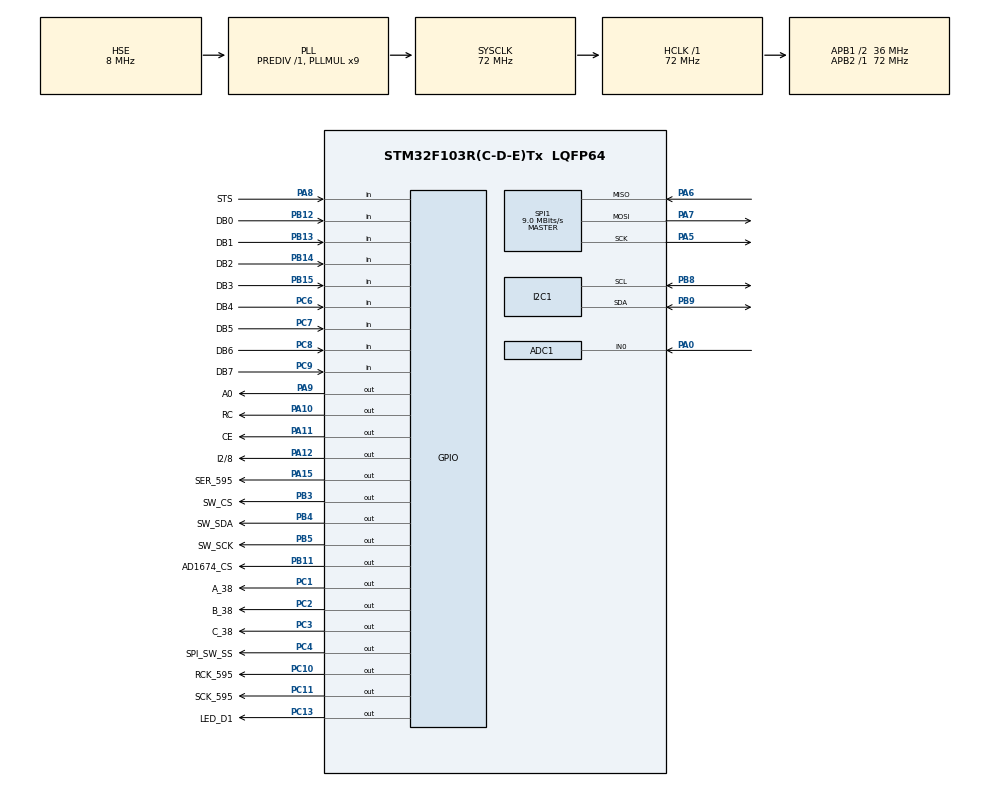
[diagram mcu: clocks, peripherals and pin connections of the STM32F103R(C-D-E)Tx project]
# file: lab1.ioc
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ADC1.Channel-1\#ChannelRegularConversion=ADC_CHANNEL_0
ADC1.ContinuousConvMode=ENABLE
ADC1.EnableInjectedConversion=DISABLE
ADC1.InjNumberOfConversion=1
ADC1.NbrOfConversionFlag=1
ADC1.Rank-1\#ChannelRegularConversion=1
ADC1.SamplingTime-1\#ChannelRegularConversion=ADC_SAMPLETIME_1CYCLE_5
ADC1.master=1
Mcu.Family=STM32F1
Mcu.Name=STM32F103R(C-D-E)Tx
Mcu.Package=LQFP64
NVIC.PriorityGroup=NVIC_PRIORITYGROUP_4
NVIC.TIM2_IRQn=true\:1\:0\:true\:false\:true\:true\:true\:true
NVIC.TIM3_IRQn=true\:0\:0\:false\:false\:true\:true\:true\:true
NVIC.TIM5_IRQn=true\:0\:0\:false\:false\:true\:true\:true\:true
PA0-WKUP.Signal=ADCx_IN0
PA10.GPIO_Label=RC
PA10.Signal=GPIO_Output
PA11.GPIO_Label=CE
PA11.Signal=GPIO_Output
PA12.GPIO_Label=I2/8
PA12.Signal=GPIO_Output
PA13.Mode=Serial_Wire
PA13.Signal=SYS_JTMS-SWDIO
PA14.Mode=Serial_Wire
PA14.Signal=SYS_JTCK-SWCLK
PA15.GPIO_Label=SER_595
PA15.Signal=GPIO_Output
PA5.Mode=Full_Duplex_Master
PA5.Signal=SPI1_SCK
PA6.Mode=Full_Duplex_Master
PA6.Signal=SPI1_MISO
PA7.Mode=Full_Duplex_Master
PA7.Signal=SPI1_MOSI
PA8.GPIO_Label=STS
PA8.Signal=GPIO_Input
PA9.GPIO_Label=A0
PA9.Signal=GPIO_Output
PB11.GPIO_Label=AD1674_CS
PB11.Signal=GPIO_Output
PB12.GPIO_Label=DB0
PB12.Signal=GPIO_Input
PB13.GPIO_Label=DB1
PB13.Signal=GPIO_Input
PB14.GPIO_Label=DB2
PB14.Signal=GPIO_Input
PB15.GPIO_Label=DB3
PB15.Signal=GPIO_Input
PB3.GPIO_Label=SW_CS
PB3.Signal=GPIO_Output
PB4.GPIO_Label=SW_SDA
PB4.Signal=GPIO_Output
PB5.GPIO_Label=SW_SCK
PB5.Signal=GPIO_Output
PB8.Mode=I2C
PB8.Signal=I2C1_SCL
PB9.Mode=I2C
PB9.Signal=I2C1_SDA
PC1.GPIO_Label=A_38
PC1.Signal=GPIO_Output
PC10.GPIO_Label=RCK_595
PC10.Signal=GPIO_Output
PC11.GPIO_Label=SCK_595
PC11.Signal=GPIO_Output
PC13-TAMPER-RTC.GPIO_Label=LED_D1
PC13-TAMPER-RTC.Signal=GPIO_Output
PC2.GPIO_Label=B_38
PC2.Signal=GPIO_Output
PC3.GPIO_Label=C_38
PC3.Signal=GPIO_Output
PC4.GPIO_Label=SPI_SW_SS
PC4.Signal=GPIO_Output
PC6.GPIO_Label=DB4
PC6.Signal=GPIO_Input
PC7.GPIO_Label=DB5
PC7.Signal=GPIO_Input
PC8.GPIO_Label=DB6
PC8.Signal=GPIO_Input
PC9.GPIO_Label=DB7
PC9.Signal=GPIO_Input
PD0-OSC_IN.Mode=HSE-External-Oscillator
PD0-OSC_IN.Signal=RCC_OSC_IN
PD1-OSC_OUT.Mode=HSE-External-Oscillator
PD1-OSC_OUT.Signal=RCC_OSC_OUT
ProjectManager.HeapSize=0x200
ProjectManager.StackSize=0x400
ProjectManager.TargetToolchain=MDK-ARM V5.32
RCC.ADCPresc=RCC_ADCPCLK2_DIV6
RCC.AHBFreq_Value=72000000
RCC.APB1CLKDivider=RCC_HCLK_DIV2
RCC.APB1Freq_Value=36000000
RCC.APB1TimFreq_Value=72000000
RCC.APB2Freq_Value=72000000
RCC.APB2TimFreq_Value=72000000
RCC.HCLKFreq_Value=72000000
RCC.PLLMUL=RCC_PLL_MUL9
RCC.PLLSourceVirtual=RCC_PLLSOURCE_HSE
RCC.SYSCLKFreq_VALUE=72000000
RCC.SYSCLKSource=RCC_SYSCLKSOURCE_PLLCLK
RCC.USBFreq_Value=72000000
SH.ADCx_IN0.0=ADC1_IN0,IN0
SPI1.BaudRatePrescaler=SPI_BAUDRATEPRESCALER_8
SPI1.CalculateBaudRate=9.0 MBits/s
SPI1.Direction=SPI_DIRECTION_2LINES
SPI1.Mode=SPI_MODE_MASTER
SPI1.VirtualType=VM_MASTER
TIM2.Period=7200
TIM2.Prescaler=10000
TIM3.Period=720
TIM3.Prescaler=10000
TIM5.Period=720
TIM5.Prescaler=10000
VP_TIM2_VS_ClockSourceINT.Mode=Internal
VP_TIM3_VS_ClockSourceINT.Mode=Internal
VP_TIM5_VS_ClockSourceINT.Mode=Internal
board=custom

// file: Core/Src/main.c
/* USER CODE BEGIN Header */
/**
  ******************************************************************************
  * @file           : main.c
  * @brief          : Main program body
  ******************************************************************************
  * @attention
  *
  * Copyright (c) 2025 STMicroelectronics.
  * All rights reserved.
  *
  * This software is licensed under terms that can be found in the LICENSE file
  * in the root directory of this software component.
  * If no LICENSE file comes with this software, it is provided AS-IS.
  *
  ******************************************************************************
  */
/* USER CODE END Header */
#include "main.h"
#include "adc.h"
#include "i2c.h"
#include "spi.h"
#include "tim.h"
#include "gpio.h"

/* USER CODE BEGIN Includes */
#include "LED.h"
#include "sw_lcd.h"
#include "spi_lcd.h"
#include "i2c_oled.h"
#include "595driver.h"
#include "AD1674.h"

/* USER CODE END Includes */

/* USER CODE BEGIN PD */
#define HW_SPI
/* USER CODE END PD */

/* USER CODE BEGIN PV */
//extern int LED_status;
uint16_t ADC_value = 0;
float ADC_Value_float = 0;
uint16_t AD1674_uint16 = 0;
float AD1674_value = 0;
/* USER CODE END PV */

void SystemClock_Config(void);

int main(void)
{

  /* USER CODE BEGIN 1 */
  LED_status = 1;
  /* USER CODE END 1 */

  /* MCU Configuration--------------------------------------------------------*/

  /* Reset of all peripherals, Initializes the Flash interface and the Systick. */
  HAL_Init();

  /* Configure the system clock */
  SystemClock_Config();

  /* USER CODE BEGIN SysInit */

  //  MX_GPIO_Init(); //这里已经对38多路选择器进行了初始化
  //  38多路选择选择的是通道0

  /* USER CODE END SysInit */

  /* Initialize all configured peripherals */
  MX_GPIO_Init(); //这里已经对38多路选择器进行了初始化
  MX_SPI1_Init();
  MX_TIM2_Init();
  MX_I2C1_Init();
  MX_TIM5_Init();
  MX_TIM3_Init();
  MX_ADC1_Init();
  /* USER CODE BEGIN 2 */
  HAL_ADCEx_Calibration_Start(&hadc1);
	HAL_TIM_Base_Start_IT(&htim2);
	HAL_TIM_Base_Start_IT(&htim3);
	//HAL_TIM_Base_Start_IT(&htim5);

	OLED_Init();
	OLED_CLS();
	//

	#ifdef HW_SPI
			LCE_init();
	#endif
	HAL_GPIO_WritePin(GPIOC, GPIO_PIN_13, 1);
  HAL_ADC_Start(&hadc1);
  AD1674_Init(); //初始化AD1674
  HAL_Delay(100);
  /* USER CODE END 2 */

  /* Infinite loop */
  /* USER CODE BEGIN WHILE */
  while (1)
  {
    if(HAL_IS_BIT_SET(HAL_ADC_GetState(&hadc1), HAL_ADC_STATE_REG_EOC))
    {
    ADC_value = HAL_ADC_GetValue(&hadc1);   //获取AD值
    }

    ADC_Value_float = (float)ADC_value * 3.3 / 4096; //将AD值转换为电压值
    LCD_Display_Lab(); //显示AD值
    AD1674_uint16 = AD1674_ReadADC(); //读取AD1674的值
    AD1674_value = ((float)AD1674_uint16 / 4096.0f) * 10.0f - 5.0f; //将AD值转换为电压值
    HAL_Delay(50);
    /* USER CODE END WHILE */

  }
}

void SystemClock_Config(void)
{
  RCC_OscInitTypeDef RCC_OscInitStruct = {0};
  RCC_ClkInitTypeDef RCC_ClkInitStruct = {0};
  RCC_PeriphCLKInitTypeDef PeriphClkInit = {0};

  /** Initializes the RCC Oscillators according to the specified parameters
  * in the RCC_OscInitTypeDef structure.
  */
  RCC_OscInitStruct.OscillatorType = RCC_OSCILLATORTYPE_HSE;
  RCC_OscInitStruct.HSEState = RCC_HSE_ON;
  RCC_OscInitStruct.HSEPredivValue = RCC_HSE_PREDIV_DIV1;
  RCC_OscInitStruct.HSIState = RCC_HSI_ON;
  RCC_OscInitStruct.PLL.PLLState = RCC_PLL_ON;
  RCC_OscInitStruct.PLL.PLLSource = RCC_PLLSOURCE_HSE;
  RCC_OscInitStruct.PLL.PLLMUL = RCC_PLL_MUL9;
  if (HAL_RCC_OscConfig(&RCC_OscInitStruct) != HAL_OK)
  {
    Error_Handler();
  }

  /** Initializes the CPU, AHB and APB buses clocks
  */
  RCC_ClkInitStruct.ClockType = RCC_CLOCKTYPE_HCLK|RCC_CLOCKTYPE_SYSCLK
                              |RCC_CLOCKTYPE_PCLK1|RCC_CLOCKTYPE_PCLK2;
  RCC_ClkInitStruct.SYSCLKSource = RCC_SYSCLKSOURCE_PLLCLK;
  RCC_ClkInitStruct.AHBCLKDivider = RCC_SYSCLK_DIV1;
  RCC_ClkInitStruct.APB1CLKDivider = RCC_HCLK_DIV2;
  RCC_ClkInitStruct.APB2CLKDivider = RCC_HCLK_DIV1;

  if (HAL_RCC_ClockConfig(&RCC_ClkInitStruct, FLASH_LATENCY_2) != HAL_OK)
  {
    Error_Handler();
  }
  PeriphClkInit.PeriphClockSelection = RCC_PERIPHCLK_ADC;
  PeriphClkInit.AdcClockSelection = RCC_ADCPCLK2_DIV6;
  if (HAL_RCCEx_PeriphCLKConfig(&PeriphClkInit) != HAL_OK)
  {
    Error_Handler();
  }
}

/* USER CODE BEGIN 4 */
void HAL_TIM_PeriodElapsedCallback(TIM_HandleTypeDef *htim){
	if(htim == &htim2){
		HAL_GPIO_TogglePin(GPIOC, GPIO_PIN_13);

	}
	if(htim == &htim3){
		time += 0.1;
		if(time >= 1000){
			time = 0;
		}
if(inter_cnt > 9999)
			inter_cnt = 0;
		inter_cnt++;
		count[0]++;

		for(int i =0; i < 7; i++){
			if(count[i] > 9){
			count[i] = 0;
			count[i + 1]++;
		}
		// over flow
		if(count[7] > 9){
			for(int k= 0; k < 8; k++){
			count[k] = 0;
			}
		}

		}

		SPI_timer[7]++;
			for(int i =0; i < 7; i++){
			if(SPI_timer[7-i] > '9'){
			SPI_timer[7-i] = '0';
			SPI_timer[6-i]++;
		}
		// over flow
		if(SPI_timer[0] > '9'){
			for(int k= 0; k < 8; k++){
			SPI_timer[k] = '0';
			}
		}

		}
	}
	if(htim == &htim5){
		time595 += 1;
		LAB_595_display();
		time595 = time595 % 8;

	}
}
/* USER CODE END 4 */

void Error_Handler(void)
{
  __disable_irq();
  while (1)
  {
  }
}
